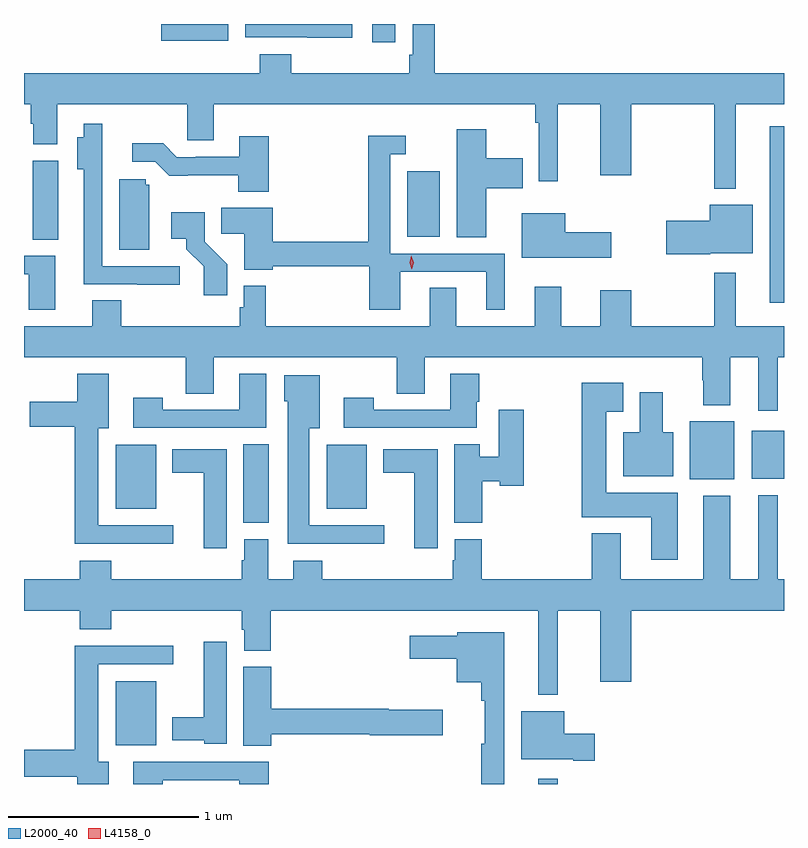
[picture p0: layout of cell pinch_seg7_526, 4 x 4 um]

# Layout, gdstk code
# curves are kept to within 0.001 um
import gdstk
lib = gdstk.Library(unit=1e-6, precision=1e-09)
def R(c, l, rs):  # rectangles x0, y0, x1, y1
    for r in rs: c.add(gdstk.rectangle(r[:2], r[2:], *l))
def P(c, l, *ps):  # polygons
    for p in ps: c.add(gdstk.Polygon(p, *l))
L2000_40 = (2000, 40)
L4158_0 = (4158, 0)

pinch_seg7_526 = lib.new_cell('pinch_seg7_526')
R(pinch_seg7_526, L2000_40, [(152.693,1075.627,152.797,1075.654), (150.47,1075.832,150.682,1076.167), (151.142,1077.001,151.276,1077.416), (150.47,1077.077,150.682,1077.412), (151.58,1077.077,151.792,1077.412), (153.491,1077.23,153.724,1077.535), (153.818,1077.233,153.987,1077.487), (153.911,1078.161,153.987,1079.089), (150.032,1078.492,150.166,1078.908), (152.003,1078.508,152.176,1078.852), (151.82,1079.532,151.942,1079.627), (150.71,1079.54,151.063,1079.627)])
P(pinch_seg7_526, L2000_40, [(153.733,1079.204),(153.987,1079.204),(153.987,1079.368),(152.15,1079.368),(152.15,1079.627),(152.034,1079.627),(152.034,1079.464),(152.014,1079.464),(152.014,1079.368),(151.394,1079.368),(151.394,1079.467),(151.229,1079.467),(151.229,1079.368),(149.987,1079.368),(149.987,1079.204),(150.023,1079.204),(150.023,1079.103),(150.035,1079.103),(150.035,1078.993),(150.163,1078.993),(150.163,1079.204),(150.846,1079.204),(150.846,1079.014),(150.985,1079.014),(150.985,1079.204),(152.677,1079.204),(152.677,1079.108),(152.697,1079.108),(152.697,1078.8),(152.796,1078.8),(152.796,1079.204),(153.02,1079.204),(153.02,1078.83),(153.184,1078.83),(153.184,1079.204),(153.619,1079.204),(153.619,1078.76),(153.733,1078.76)],
  [(151.714,1079.627),(151.152,1079.627),(151.152,1079.556),(151.477,1079.556),(151.477,1079.555),(151.714,1079.555)],
  [(150.808,1078.353),(150.399,1078.353),(150.399,1078.878),(150.4,1078.878),(150.4,1079.101),(150.302,1079.101),(150.302,1079.032),(150.266,1079.032),(150.266,1078.862),(150.302,1078.862),(150.302,1078.257),(150.583,1078.257),(150.583,1078.255),(150.808,1078.255)],
  [(152.419,1078.763),(152.612,1078.763),(152.612,1078.921),(152.419,1078.921),(152.419,1079.074),(152.264,1079.074),(152.264,1078.504),(152.419,1078.504)],
  [(151.966,1078.323),(152.42,1078.323),(152.42,1078.122),(152.518,1078.122),(152.518,1078.419),(151.914,1078.419),(151.914,1078.941),(151.996,1078.941),(151.996,1079.038),(151.798,1079.038),(151.798,1078.481),(151.295,1078.481),(151.295,1078.66),(151.024,1078.66),(151.024,1078.522),(151.145,1078.522),(151.145,1078.334),(151.295,1078.334),(151.295,1078.353),(151.805,1078.353),(151.805,1078.122),(151.966,1078.122)],
  [(151.274,1079.035),(151.121,1079.035),(151.121,1078.929),(150.892,1078.929),(150.892,1078.926),(150.792,1078.926),(150.719,1078.999),(150.558,1078.999),(150.558,1078.902),(150.678,1078.902),(150.751,1078.829),(151.114,1078.83),(151.114,1078.745),(151.274,1078.745)],
  [(150.646,1078.782),(150.627,1078.782),(150.627,1078.809),(150.488,1078.809),(150.488,1078.438),(150.646,1078.438)],
  [(153.6,1078.421),(153.823,1078.421),(153.823,1078.675),(153.596,1078.675),(153.596,1078.592),(153.366,1078.592),(153.366,1078.414),(153.6,1078.414)],
  [(151.058,1078.362),(150.939,1078.481),(150.939,1078.636),(150.762,1078.636),(150.762,1078.496),(150.842,1078.496),(150.842,1078.441),(150.933,1078.351),(150.933,1078.2),(151.058,1078.2)],
  [(153.079,1078.532),(152.836,1078.532),(152.836,1078.63),(152.606,1078.63),(152.606,1078.397),(153.079,1078.397)],
  [(150.151,1078.407),(149.987,1078.407),(149.987,1078.311),(150.011,1078.311),(150.011,1078.122),(150.151,1078.122)],
  [(153.955,1077.872),(153.987,1077.872),(153.987,1078.036),(153.733,1078.036),(153.733,1078.318),(153.619,1078.318),(153.619,1078.036),(153.184,1078.036),(153.184,1078.225),(153.02,1078.225),(153.02,1078.036),(152.815,1078.036),(152.815,1078.243),(152.675,1078.243),(152.675,1078.036),(152.263,1078.036),(152.263,1078.238),(152.123,1078.238),(152.123,1078.036),(151.259,1078.036),(151.259,1078.249),(151.143,1078.249),(151.143,1078.137),(151.123,1078.137),(151.123,1078.036),(150.5,1078.036),(150.5,1078.172),(150.347,1078.172),(150.347,1078.036),(149.987,1078.036),(149.987,1077.872),(150.838,1077.872),(150.838,1077.682),(150.985,1077.682),(150.985,1077.872),(151.948,1077.872),(151.948,1077.682),(152.095,1077.682),(152.095,1077.872),(153.556,1077.872),(153.556,1077.752),(153.563,1077.752),(153.563,1077.62),(153.703,1077.62),(153.703,1077.872),(153.851,1077.872),(153.851,1077.591),(153.955,1077.591)],
  [(150.772,1076.988),(150.379,1076.988),(150.379,1077.5),(150.433,1077.5),(150.433,1077.787),(150.266,1077.787),(150.266,1077.64),(150.018,1077.64),(150.018,1077.506),(150.254,1077.506),(150.254,1076.891),(150.772,1076.891)],
  [(152.371,1077.639),(152.384,1077.639),(152.384,1077.787),(152.231,1077.787),(152.231,1077.597),(151.827,1077.597),(151.827,1077.661),(151.671,1077.661),(151.671,1077.501),(152.371,1077.501)],
  [(151.261,1077.787),(151.121,1077.787),(151.121,1077.597),(150.717,1077.597),(150.717,1077.661),(150.561,1077.661),(150.561,1077.501),(151.261,1077.501)],
  [(151.882,1076.988),(151.489,1076.988),(151.489,1077.5),(151.543,1077.5),(151.543,1077.778),(151.358,1077.778),(151.358,1077.642),(151.376,1077.642),(151.376,1076.891),(151.882,1076.891)],
  [(153.427,1077.16),(153.052,1077.16),(153.052,1077.587),(153.142,1077.587),(153.142,1077.739),(152.923,1077.739),(152.923,1077.032),(153.287,1077.032),(153.287,1076.808),(153.427,1076.808)],
  [(153.403,1077.478),(153.349,1077.478),(153.349,1077.688),(153.227,1077.688),(153.227,1077.478),(153.14,1077.478),(153.14,1077.248),(153.403,1077.248)],
  [(152.399,1077.22),(152.49,1077.22),(152.49,1077.197),(152.616,1077.197),(152.616,1077.598),(152.486,1077.598),(152.486,1077.349),(152.386,1077.349),(152.386,1077.416),(152.252,1077.416),(152.252,1077.001),(152.399,1077.001)],
  [(151.054,1077.388),(150.767,1077.388),(150.767,1077.266),(150.932,1077.266),(150.932,1076.868),(151.054,1076.868)],
  [(152.164,1077.388),(151.877,1077.388),(151.877,1077.266),(152.042,1077.266),(152.042,1076.868),(152.164,1076.868)],
  [(153.127,1076.947),(152.975,1076.947),(152.975,1076.704),(152.396,1076.704),(152.396,1076.916),(152.255,1076.916),(152.255,1076.805),(152.243,1076.805),(152.243,1076.704),(151.556,1076.704),(151.556,1076.803),(151.403,1076.803),(151.403,1076.704),(151.273,1076.704),(151.273,1076.916),(151.145,1076.916),(151.145,1076.805),(151.133,1076.805),(151.133,1076.704),(150.446,1076.704),(150.446,1076.803),(150.281,1076.803),(150.281,1076.704),(149.987,1076.704),(149.987,1076.54),(150.281,1076.54),(150.281,1076.441),(150.446,1076.441),(150.446,1076.54),(151.133,1076.54),(151.133,1076.439),(151.145,1076.439),(151.145,1076.329),(151.286,1076.329),(151.286,1076.54),(152.693,1076.54),(152.693,1076.096),(152.797,1076.096),(152.797,1076.54),(153.02,1076.54),(153.02,1076.166),(153.184,1076.166),(153.184,1076.54),(153.987,1076.54),(153.987,1076.704),(153.955,1076.704),(153.955,1077.148),(153.851,1077.148),(153.851,1076.704),(153.703,1076.704),(153.703,1077.145),(153.563,1077.145),(153.563,1076.704),(153.127,1076.704)],
  [(152.515,1076.425),(152.268,1076.425),(152.268,1076.407),(152.016,1076.407),(152.016,1076.285),(152.264,1076.285),(152.264,1076.162),(152.394,1076.162),(152.394,1076.066),(152.411,1076.066),(152.411,1075.838),(152.394,1075.838),(152.394,1075.627),(152.515,1075.627)],
  [(151.054,1076.377),(150.932,1076.377),(150.932,1075.978),(150.767,1075.978),(150.767,1075.856),(150.936,1075.856),(150.936,1075.838),(151.054,1075.838)],
  [(150.433,1075.744),(150.379,1075.744),(150.379,1076.256),(150.772,1076.256),(150.772,1076.354),(150.254,1076.354),(150.254,1075.808),(149.987,1075.808),(149.987,1075.666),(150.266,1075.666),(150.266,1075.627),(150.433,1075.627)],
  [(151.289,1075.888),(151.806,1075.888),(151.806,1075.883),(152.191,1075.883),(152.191,1076.017),(151.906,1076.017),(151.906,1076.024),(151.289,1076.024),(151.289,1076.244),(151.142,1076.244),(151.142,1075.828),(151.289,1075.828)],
  [(152.992,1075.892),(152.83,1075.892),(152.83,1076.011),(152.603,1076.011),(152.603,1075.757),(152.879,1075.757),(152.879,1075.75),(152.992,1075.75)],
  [(150.717,1075.647),(151.121,1075.647),(151.121,1075.627),(151.274,1075.627),(151.274,1075.743),(150.561,1075.743),(150.561,1075.627),(150.717,1075.627)])
P(pinch_seg7_526, L4158_0, [(152.028,1078.335),(152.028,1078.335),(152.017,1078.37),(152.025,1078.406),(152.026,1078.407),(152.026,1078.406),(152.037,1078.371),(152.028,1078.335)])

lib.write_gds('pinch_seg7_526.gds')
